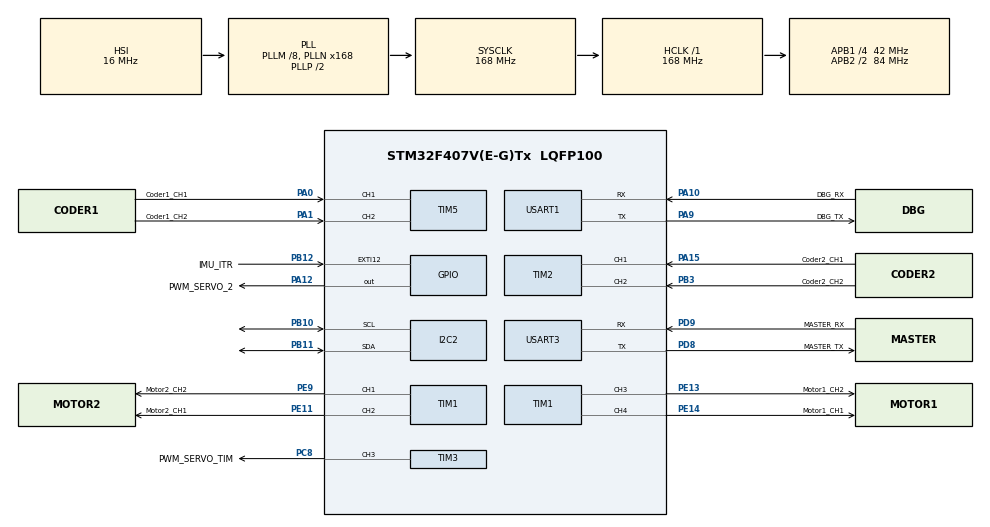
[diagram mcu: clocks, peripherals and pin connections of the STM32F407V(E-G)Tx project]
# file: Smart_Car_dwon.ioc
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Dma.I2C2_RX.2.Direction=DMA_PERIPH_TO_MEMORY
Dma.I2C2_RX.2.FIFOMode=DMA_FIFOMODE_DISABLE
Dma.I2C2_RX.2.Instance=DMA1_Stream2
Dma.I2C2_RX.2.MemDataAlignment=DMA_MDATAALIGN_BYTE
Dma.I2C2_RX.2.MemInc=DMA_MINC_ENABLE
Dma.I2C2_RX.2.Mode=DMA_NORMAL
Dma.I2C2_RX.2.PeriphDataAlignment=DMA_PDATAALIGN_BYTE
Dma.I2C2_RX.2.PeriphInc=DMA_PINC_DISABLE
Dma.I2C2_RX.2.Priority=DMA_PRIORITY_VERY_HIGH
Dma.I2C2_TX.3.Direction=DMA_MEMORY_TO_PERIPH
Dma.I2C2_TX.3.FIFOMode=DMA_FIFOMODE_DISABLE
Dma.I2C2_TX.3.Instance=DMA1_Stream7
Dma.I2C2_TX.3.MemDataAlignment=DMA_MDATAALIGN_BYTE
Dma.I2C2_TX.3.MemInc=DMA_MINC_ENABLE
Dma.I2C2_TX.3.Mode=DMA_NORMAL
Dma.I2C2_TX.3.PeriphDataAlignment=DMA_PDATAALIGN_BYTE
Dma.I2C2_TX.3.PeriphInc=DMA_PINC_DISABLE
Dma.I2C2_TX.3.Priority=DMA_PRIORITY_VERY_HIGH
Dma.Request0=USART3_RX
Dma.Request1=USART3_TX
Dma.Request2=I2C2_RX
Dma.Request3=I2C2_TX
Dma.USART3_RX.0.Direction=DMA_PERIPH_TO_MEMORY
Dma.USART3_RX.0.FIFOMode=DMA_FIFOMODE_DISABLE
Dma.USART3_RX.0.Instance=DMA1_Stream1
Dma.USART3_RX.0.MemDataAlignment=DMA_MDATAALIGN_BYTE
Dma.USART3_RX.0.MemInc=DMA_MINC_ENABLE
Dma.USART3_RX.0.Mode=DMA_NORMAL
Dma.USART3_RX.0.PeriphDataAlignment=DMA_PDATAALIGN_BYTE
Dma.USART3_RX.0.PeriphInc=DMA_PINC_DISABLE
Dma.USART3_RX.0.Priority=DMA_PRIORITY_HIGH
Dma.USART3_TX.1.Direction=DMA_MEMORY_TO_PERIPH
Dma.USART3_TX.1.FIFOMode=DMA_FIFOMODE_DISABLE
Dma.USART3_TX.1.Instance=DMA1_Stream3
Dma.USART3_TX.1.MemDataAlignment=DMA_MDATAALIGN_BYTE
Dma.USART3_TX.1.MemInc=DMA_MINC_ENABLE
Dma.USART3_TX.1.Mode=DMA_NORMAL
Dma.USART3_TX.1.PeriphDataAlignment=DMA_PDATAALIGN_BYTE
Dma.USART3_TX.1.PeriphInc=DMA_PINC_DISABLE
Dma.USART3_TX.1.Priority=DMA_PRIORITY_HIGH
FREERTOS.Tasks01=defaultTask,8,128,StartDefaultTask,Default,NULL,Dynamic,NULL,NULL;Servo_Task,24,128,StartTask02,Default,NULL,Dynamic,NULL,NULL;Comm_Task,40,128,StartTask03,Default,NULL,Dynamic,NULL,NULL;Motor_PID_Task,48,128,StartTask04,Default,NULL,Dynamic,NULL,NULL
FREERTOS.configENABLE_FPU=1
I2C2.DutyCycle=I2C_DUTYCYCLE_16_9
I2C2.I2C_Mode=I2C_Fast
Mcu.Family=STM32F4
Mcu.Name=STM32F407V(E-G)Tx
Mcu.Package=LQFP100
NVIC.DMA1_Stream1_IRQn=true\:5\:0\:false\:false\:true\:true\:false\:true\:true
NVIC.DMA1_Stream2_IRQn=true\:5\:0\:false\:false\:true\:true\:false\:true\:true
NVIC.DMA1_Stream3_IRQn=true\:5\:0\:false\:false\:true\:true\:false\:true\:true
NVIC.DMA1_Stream7_IRQn=true\:5\:0\:false\:false\:true\:true\:false\:true\:true
NVIC.EXTI15_10_IRQn=true\:5\:0\:false\:false\:true\:true\:true\:true\:true
NVIC.FLASH_IRQn=true\:5\:0\:false\:false\:true\:true\:true\:true\:true
NVIC.FPU_IRQn=true\:5\:0\:false\:false\:true\:true\:true\:false\:true
NVIC.I2C2_ER_IRQn=true\:5\:0\:false\:false\:true\:true\:true\:true\:true
NVIC.I2C2_EV_IRQn=true\:5\:0\:false\:false\:true\:true\:true\:true\:true
NVIC.PVD_IRQn=true\:5\:0\:false\:false\:true\:true\:true\:true\:true
NVIC.PriorityGroup=NVIC_PRIORITYGROUP_4
NVIC.RCC_IRQn=true\:5\:0\:false\:false\:true\:true\:true\:false\:true
NVIC.TIM1_BRK_TIM9_IRQn=true\:5\:0\:false\:false\:true\:true\:true\:true\:true
NVIC.TIM1_CC_IRQn=true\:5\:0\:false\:false\:true\:true\:true\:true\:true
NVIC.TIM1_TRG_COM_TIM11_IRQn=true\:5\:0\:false\:false\:true\:true\:true\:true\:true
NVIC.TIM1_UP_TIM10_IRQn=true\:5\:0\:false\:false\:true\:true\:true\:true\:true
NVIC.TIM2_IRQn=true\:5\:0\:false\:false\:true\:true\:true\:true\:true
NVIC.TIM5_IRQn=true\:5\:0\:false\:false\:true\:true\:true\:true\:true
NVIC.TIM8_TRG_COM_TIM14_IRQn=true\:15\:0\:false\:false\:true\:false\:false\:true\:true
NVIC.TimeBase=TIM8_TRG_COM_TIM14_IRQn
NVIC.TimeBaseIP=TIM14
NVIC.USART1_IRQn=true\:5\:0\:false\:false\:true\:true\:true\:true\:true
NVIC.USART3_IRQn=true\:5\:0\:false\:false\:true\:true\:true\:true\:true
PA0-WKUP.GPIO_Label=Coder1_CH1
PA0-WKUP.GPIO_PuPd=GPIO_PULLUP
PA0-WKUP.GPIO_Speed=GPIO_SPEED_FREQ_VERY_HIGH
PA0-WKUP.Signal=S_TIM5_CH1
PA1.GPIO_Label=Coder1_CH2
PA1.GPIO_PuPd=GPIO_PULLUP
PA1.GPIO_Speed=GPIO_SPEED_FREQ_VERY_HIGH
PA1.Signal=S_TIM5_CH2
PA10.GPIO_Label=DBG_RX
PA10.Mode=Asynchronous
PA10.Signal=USART1_RX
PA12.GPIO_Label=PWM_SERVO_2
PA12.Signal=GPIO_Output
PA13.Mode=Serial_Wire
PA13.Signal=SYS_JTMS-SWDIO
PA14.Mode=Serial_Wire
PA14.Signal=SYS_JTCK-SWCLK
PA15.GPIO_Label=Coder2_CH1
PA15.GPIO_PuPd=GPIO_PULLUP
PA15.GPIO_Speed=GPIO_SPEED_FREQ_VERY_HIGH
PA15.Signal=S_TIM2_CH1_ETR
PA9.GPIO_Label=DBG_TX
PA9.Mode=Asynchronous
PA9.Signal=USART1_TX
PB10.GPIO_Pu=GPIO_PULLUP
PB10.Mode=I2C
PB10.Signal=I2C2_SCL
PB11.GPIO_Pu=GPIO_PULLUP
PB11.Mode=I2C
PB11.Signal=I2C2_SDA
PB12.GPIO_Label=IMU_ITR
PB12.Signal=GPXTI12
PB3.GPIO_Label=Coder2_CH2
PB3.GPIO_PuPd=GPIO_PULLUP
PB3.GPIO_Speed=GPIO_SPEED_FREQ_VERY_HIGH
PB3.Signal=S_TIM2_CH2
PC8.GPIO_Label=PWM_SERVO_TIM
PC8.Signal=S_TIM3_CH3
PD8.GPIO_Label=MASTER_TX
PD8.Mode=Asynchronous
PD8.Signal=USART3_TX
PD9.GPIO_Label=MASTER_RX
PD9.Mode=Asynchronous
PD9.Signal=USART3_RX
PE11.GPIO_Label=Motor2_CH1
PE11.GPIO_Speed=GPIO_SPEED_FREQ_HIGH
PE11.Signal=S_TIM1_CH2
PE13.GPIO_Label=Motor1_CH2
PE13.GPIO_Speed=GPIO_SPEED_FREQ_HIGH
PE13.Signal=S_TIM1_CH3
PE14.GPIO_Label=Motor1_CH1
PE14.GPIO_Speed=GPIO_SPEED_FREQ_HIGH
PE14.Signal=S_TIM1_CH4
PE9.GPIO_Label=Motor2_CH2
PE9.GPIO_Speed=GPIO_SPEED_FREQ_HIGH
PE9.Signal=S_TIM1_CH1
PH0-OSC_IN.Mode=HSE-External-Oscillator
PH0-OSC_IN.Signal=RCC_OSC_IN
PH1-OSC_OUT.Mode=HSE-External-Oscillator
PH1-OSC_OUT.Signal=RCC_OSC_OUT
ProjectManager.HeapSize=0x2
ProjectManager.StackSize=0x400
ProjectManager.TargetToolchain=CMake
RCC.48MHZClocksFreq_Value=84000000
RCC.AHBFreq_Value=168000000
RCC.APB1CLKDivider=RCC_HCLK_DIV4
RCC.APB1Freq_Value=42000000
RCC.APB1TimFreq_Value=84000000
RCC.APB2CLKDivider=RCC_HCLK_DIV2
RCC.APB2Freq_Value=84000000
RCC.APB2TimFreq_Value=168000000
RCC.CortexFreq_Value=168000000
RCC.HCLKFreq_Value=168000000
RCC.HSE_VALUE=25000000
RCC.HSI_VALUE=16000000
RCC.LSE_VALUE=32768
RCC.PLLM=8
RCC.PLLN=168
RCC.SYSCLKFreq_VALUE=168000000
RCC.SYSCLKSource=RCC_SYSCLKSOURCE_PLLCLK
RCC.VCOOutputFreq_Value=336000000
SH.S_TIM1_CH1.0=TIM1_CH1,PWM Generation1 CH1
SH.S_TIM1_CH2.0=TIM1_CH2,PWM Generation2 CH2
SH.S_TIM1_CH3.0=TIM1_CH3,PWM Generation3 CH3
SH.S_TIM1_CH4.0=TIM1_CH4,PWM Generation4 CH4
SH.S_TIM2_CH1_ETR.0=TIM2_CH1,Encoder_Interface
SH.S_TIM2_CH2.0=TIM2_CH2,Encoder_Interface
SH.S_TIM3_CH3.0=TIM3_CH3,PWM Generation3 CH3
SH.S_TIM5_CH1.0=TIM5_CH1,Encoder_Interface
SH.S_TIM5_CH2.0=TIM5_CH2,Encoder_Interface
TIM1.Channel-PWM\ Generation1\ CH1=TIM_CHANNEL_1
TIM1.Channel-PWM\ Generation2\ CH2=TIM_CHANNEL_2
TIM1.Channel-PWM\ Generation3\ CH3=TIM_CHANNEL_3
TIM1.Channel-PWM\ Generation4\ CH4=TIM_CHANNEL_4
TIM3.Channel-PWM\ Generation3\ CH3=TIM_CHANNEL_3
USART1.VirtualMode=VM_ASYNC
USART3.VirtualMode=VM_ASYNC
VP_FREERTOS_VS_CMSIS_V2.Mode=CMSIS_V2
VP_SYS_VS_tim14.Mode=TIM14
VP_TIM1_VS_ClockSourceINT.Mode=Internal
board=custom

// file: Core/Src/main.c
/* USER CODE BEGIN Header */
/**
  ******************************************************************************
  * @file           : main.c
  * @brief          : Main program body
  ******************************************************************************
  * @attention
  *
  * Copyright (c) 2026 STMicroelectronics.
  * All rights reserved.
  *
  * This software is licensed under terms that can be found in the LICENSE file
  * in the root directory of this software component.
  * If no LICENSE file comes with this software, it is provided AS-IS.
  *
  ******************************************************************************
  */
/* USER CODE END Header */
#include "main.h"
#include "cmsis_os.h"
#include "dma.h"
#include "i2c.h"
#include "tim.h"
#include "usart.h"
#include "gpio.h"

void SystemClock_Config(void);
void MX_FREERTOS_Init(void);

int main(void)
{

  /* MCU Configuration--------------------------------------------------------*/

  /* Reset of all peripherals, Initializes the Flash interface and the Systick. */
  HAL_Init();

  /* Configure the system clock */
  SystemClock_Config();

  /* Initialize all configured peripherals */
  MX_GPIO_Init();
  MX_DMA_Init();
  MX_TIM1_Init();
  MX_TIM2_Init();
  MX_TIM5_Init();
  MX_USART1_UART_Init();
  MX_USART3_UART_Init();
  MX_I2C2_Init();
  MX_TIM3_Init();

  /* Init scheduler */
  osKernelInitialize();  /* Call init function for freertos objects (in cmsis_os2.c) */
  MX_FREERTOS_Init();

  /* Start scheduler */
  osKernelStart();

  /* We should never get here as control is now taken by the scheduler */

  /* Infinite loop */
  while (1)
  {

  }
}

void SystemClock_Config(void)
{
  RCC_OscInitTypeDef RCC_OscInitStruct = {0};
  RCC_ClkInitTypeDef RCC_ClkInitStruct = {0};

  /** Configure the main internal regulator output voltage
  */
  __HAL_RCC_PWR_CLK_ENABLE();
  __HAL_PWR_VOLTAGESCALING_CONFIG(PWR_REGULATOR_VOLTAGE_SCALE1);

  /** Initializes the RCC Oscillators according to the specified parameters
  * in the RCC_OscInitTypeDef structure.
  */
  RCC_OscInitStruct.OscillatorType = RCC_OSCILLATORTYPE_HSI;
  RCC_OscInitStruct.HSIState = RCC_HSI_ON;
  RCC_OscInitStruct.HSICalibrationValue = RCC_HSICALIBRATION_DEFAULT;
  RCC_OscInitStruct.PLL.PLLState = RCC_PLL_ON;
  RCC_OscInitStruct.PLL.PLLSource = RCC_PLLSOURCE_HSI;
  RCC_OscInitStruct.PLL.PLLM = 8;
  RCC_OscInitStruct.PLL.PLLN = 168;
  RCC_OscInitStruct.PLL.PLLP = RCC_PLLP_DIV2;
  RCC_OscInitStruct.PLL.PLLQ = 4;
  if (HAL_RCC_OscConfig(&RCC_OscInitStruct) != HAL_OK)
  {
    Error_Handler();
  }

  /** Initializes the CPU, AHB and APB buses clocks
  */
  RCC_ClkInitStruct.ClockType = RCC_CLOCKTYPE_HCLK|RCC_CLOCKTYPE_SYSCLK
                              |RCC_CLOCKTYPE_PCLK1|RCC_CLOCKTYPE_PCLK2;
  RCC_ClkInitStruct.SYSCLKSource = RCC_SYSCLKSOURCE_PLLCLK;
  RCC_ClkInitStruct.AHBCLKDivider = RCC_SYSCLK_DIV1;
  RCC_ClkInitStruct.APB1CLKDivider = RCC_HCLK_DIV4;
  RCC_ClkInitStruct.APB2CLKDivider = RCC_HCLK_DIV2;

  if (HAL_RCC_ClockConfig(&RCC_ClkInitStruct, FLASH_LATENCY_5) != HAL_OK)
  {
    Error_Handler();
  }
}

void HAL_TIM_PeriodElapsedCallback(TIM_HandleTypeDef *htim)
{
  if (htim->Instance == TIM14)
  {
    HAL_IncTick();
  }
}

void Error_Handler(void)
{
  __disable_irq();
  while (1)
  {
  }
}

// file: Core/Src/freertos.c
/* USER CODE BEGIN Header */
/**
  ******************************************************************************
  * File Name          : freertos.c
  * Description        : Code for freertos applications
  ******************************************************************************
  * @attention
  *
  * Copyright (c) 2026 STMicroelectronics.
  * All rights reserved.
  *
  * This software is licensed under terms that can be found in the LICENSE file
  * in the root directory of this software component.
  * If no LICENSE file comes with this software, it is provided AS-IS.
  *
  ******************************************************************************
  */
/* USER CODE END Header */

#include "FreeRTOS.h"
#include "task.h"
#include "main.h"
#include "cmsis_os.h"

/* USER CODE BEGIN Includes */
#include "qmi8658.h"
#include "motor_control.h"
#include "servo_control.h"
#include "encoder.h"
#include "pid.h"
#include "queue.h"
#include "string.h"
#include "usart.h"
/* USER CODE END Includes */

/* USER CODE BEGIN PV */
// 电机控制命令结构体
typedef struct {
  uint8_t motor_id;
  int16_t speed;
} MotorCmd_t;

// 舵机控制命令结构体
typedef struct {
  uint8_t servo_id;
  uint8_t angle;
} ServoCmd_t;

// 队列句柄
QueueHandle_t motor_cmd_queue;
QueueHandle_t servo_cmd_queue;

// 协议解析状态机变量
static uint8_t parse_state = 0;
static uint8_t packet[64];
static uint8_t packet_idx = 0;
static uint8_t data_len = 0;
static uint8_t cmd_type = 0;

// PID控制器实例
PID_HandleTypeDef pid_motor1;
PID_HandleTypeDef pid_motor2;

// 电机目标速度
int16_t motor1_target = 0;
int16_t motor2_target = 0;
/* USER CODE END PV */

/* Definitions for defaultTask */
osThreadId_t defaultTaskHandle;
const osThreadAttr_t defaultTask_attributes = {
  .name = "defaultTask",
  .stack_size = 128 * 4,
  .priority = (osPriority_t) osPriorityLow,
};
/* Definitions for Servo_Task */
osThreadId_t Servo_TaskHandle;
const osThreadAttr_t Servo_Task_attributes = {
  .name = "Servo_Task",
  .stack_size = 128 * 4,
  .priority = (osPriority_t) osPriorityNormal,
};
/* Definitions for Comm_Task */
osThreadId_t Comm_TaskHandle;
const osThreadAttr_t Comm_Task_attributes = {
  .name = "Comm_Task",
  .stack_size = 128 * 4,
  .priority = (osPriority_t) osPriorityHigh,
};
/* Definitions for Motor_PID_Task */
osThreadId_t Motor_PID_TaskHandle;
const osThreadAttr_t Motor_PID_Task_attributes = {
  .name = "Motor_PID_Task",
  .stack_size = 128 * 4,
  .priority = (osPriority_t) osPriorityRealtime,
};

/* USER CODE BEGIN FunctionPrototypes */
/* USER CODE BEGIN 0 */
static uint8_t calc_checksum(uint8_t *data, int len)
{
    uint8_t sum = 0;
    for (int i = 0; i < len; i++) {
        sum += data[i];
    }
    return sum;
}

void ProcessUARTData(uint8_t *data, uint16_t len)
{
    for (int i = 0; i < len; i++) {
        uint8_t byte = data[i];
        switch (parse_state) {
            case 0: // 等待帧头1
                if (byte == 0xAA) {
                    parse_state = 1;
                    packet_idx = 0;
                    packet[packet_idx++] = byte;
                }
                break;
            case 1: // 等待帧头2
                if (byte == 0x55) {
                    parse_state = 2;
                    packet[packet_idx++] = byte;
                } else {
                    parse_state = 0;
                }
                break;
            case 2: // 读取数据长度
                data_len = byte;
                packet[packet_idx++] = byte;
                parse_state = 3;
                break;
            case 3: // 读取命令类型
                cmd_type = byte;
                packet[packet_idx++] = byte;
                parse_state = 4;
                break;
            case 4: // 读取数据域
                packet[packet_idx++] = byte;
                if (packet_idx - 4 >= data_len) {
                    parse_state = 5;
                }
                break;
            case 5: // 读取校验和
                packet[packet_idx++] = byte;
                parse_state = 6;
                break;
            case 6: // 读取帧尾
                if (byte == 0x0D) {
                    packet[packet_idx++] = byte;
                    // 校验
                    uint8_t calc_crc = calc_checksum(packet, packet_idx - 2);
                    if (calc_crc == packet[packet_idx - 2]) {
                        // 根据命令类型处理
                        switch (cmd_type) {
                            case 0x01: { // 电机控制
                                if (data_len >= 4) {
                                    MotorCmd_t cmd;
                                    cmd.motor_id = packet[4];
                                    cmd.speed = (packet[5] << 8) | packet[6];
                                    xQueueSend(motor_cmd_queue, &cmd, 0);
                                }
                                break;
                            }
                            case 0x02: { // 舵机控制
                                if (data_len >= 3) {
                                    ServoCmd_t cmd;
                                    cmd.servo_id = packet[4];
                                    cmd.angle = packet[5];
                                    xQueueSend(servo_cmd_queue, &cmd, 0);
                                }
                                break;
                            }
                            default:
                                break;
                        }
                    }
                }
                parse_state = 0;
                break;
            default:
                parse_state = 0;
                break;
        }
    }
}
/* USER CODE END 0 */
/* USER CODE END FunctionPrototypes */

void StartDefaultTask(void *argument);
void StartTask02(void *argument);
void StartTask03(void *argument);
void StartTask04(void *argument);

void MX_FREERTOS_Init(void); /* (MISRA C 2004 rule 8.1) */

void MX_FREERTOS_Init(void) {

  /* USER CODE BEGIN RTOS_QUEUES */
  /* add queues, ... */
  motor_cmd_queue = xQueueCreate(5, sizeof(MotorCmd_t));
  servo_cmd_queue = xQueueCreate(5, sizeof(ServoCmd_t));
  /* USER CODE END RTOS_QUEUES */

  /* Create the thread(s) */
  /* creation of defaultTask */
  defaultTaskHandle = osThreadNew(StartDefaultTask, NULL, &defaultTask_attributes);

  /* creation of Servo_Task */
  Servo_TaskHandle = osThreadNew(StartTask02, NULL, &Servo_Task_attributes);

  /* creation of Comm_Task */
  Comm_TaskHandle = osThreadNew(StartTask03, NULL, &Comm_Task_attributes);

  /* creation of Motor_PID_Task */
  Motor_PID_TaskHandle = osThreadNew(StartTask04, NULL, &Motor_PID_Task_attributes);

}

void StartDefaultTask(void *argument)
{
  /* USER CODE BEGIN StartDefaultTask */
    // 初始化各个外设
    Motor_Init();
    Servo_Init();
    Encoder_Init();
    QMI8658_Init();

    // 初始化PID参数（根据实际调整）
    PID_Init(&pid_motor1, 1.0f, 0.1f, 0.05f, 10000, -10000);
    PID_Init(&pid_motor2, 1.0f, 0.1f, 0.05f, 10000, -10000);
  /* Infinite loop */
  for(;;)
  {
    osDelay(1000);
  }
  /* USER CODE END StartDefaultTask */
}

void StartTask02(void *argument)
{
  /* USER CODE BEGIN StartTask02 */
    ServoCmd_t cmd;
  /* Infinite loop */
  for(;;)
  {
      if (xQueueReceive(servo_cmd_queue, &cmd, 10) == pdTRUE) {
          Servo_SetAngle(cmd.servo_id, cmd.angle);
      }
      osDelay(1);
  }
  /* USER CODE END StartTask02 */
}

void StartTask03(void *argument)
{
  /* USER CODE BEGIN StartTask03 */
    uint8_t tx_buffer[64];
    TickType_t last_wake_time = xTaskGetTickCount();
    const TickType_t period = pdMS_TO_TICKS(50);  // 50ms发送一次

  /* Infinite loop */
    for(;;) {
        vTaskDelayUntil(&last_wake_time, period);

        // 读取IMU数据
        int16_t ax, ay, az, gx, gy, gz, temp;
        QMI8658_GetData(&ax, &ay, &az, &gx, &gy, &gz);
        temp = QMI8658_GetTemperature();

        // 构建数据包
        uint8_t data_field[14];
        data_field[0] = (ax >> 8) & 0xFF;
        data_field[1] = ax & 0xFF;
        data_field[2] = (ay >> 8) & 0xFF;
        data_field[3] = ay & 0xFF;
        data_field[4] = (az >> 8) & 0xFF;
        data_field[5] = az & 0xFF;
        data_field[6] = (gx >> 8) & 0xFF;
        data_field[7] = gx & 0xFF;
        data_field[8] = (gy >> 8) & 0xFF;
        data_field[9] = gy & 0xFF;
        data_field[10] = (gz >> 8) & 0xFF;
        data_field[11] = gz & 0xFF;
        data_field[12] = (temp >> 8) & 0xFF;
        data_field[13] = temp & 0xFF;

        // 构建完整帧
        tx_buffer[0] = 0xAA;
        tx_buffer[1] = 0x55;
        tx_buffer[2] = 14;
        tx_buffer[3] = 0x03;
        memcpy(&tx_buffer[4], data_field, 14);
        uint8_t checksum = calc_checksum(tx_buffer, 18);
        tx_buffer[18] = checksum;
        tx_buffer[19] = 0x0D;

        // 发送数据
        HAL_UART_Transmit(&huart3, tx_buffer, 20, 100);
        osDelay(1);
    }
  /* USER CODE END StartTask03 */
}

void StartTask04(void *argument)
{
  /* USER CODE BEGIN StartTask04 */
    MotorCmd_t cmd;
    TickType_t last_wake_time = xTaskGetTickCount();
    const TickType_t period = pdMS_TO_TICKS(10);  // 10ms控制周期
  /* Infinite loop */
    for(;;) {
        // 接收电机命令
        if (xQueueReceive(motor_cmd_queue, &cmd, 0) == pdTRUE) {
            if (cmd.motor_id == 1) {
                motor1_target = cmd.speed;
            } else if (cmd.motor_id == 2) {
                motor2_target = cmd.speed;
            } else if (cmd.motor_id == 0) {
                motor1_target = cmd.speed;
                motor2_target = cmd.speed;
            }
        }

        // 读取实际速度
        int16_t speed1 = GetMotorSpeed(1);
        int16_t speed2 = GetMotorSpeed(2);

        // 计算PID输出
        float output1 = PID_Update(&pid_motor1, motor1_target, speed1);
        float output2 = PID_Update(&pid_motor2, motor2_target, speed2);

        // 设置电机PWM
        Motor_SetSpeed(1, (int16_t)output1);
        Motor_SetSpeed(2, (int16_t)output2);

        vTaskDelayUntil(&last_wake_time, period);
        osDelay(1);
    }

  /* USER CODE END StartTask04 */
}
